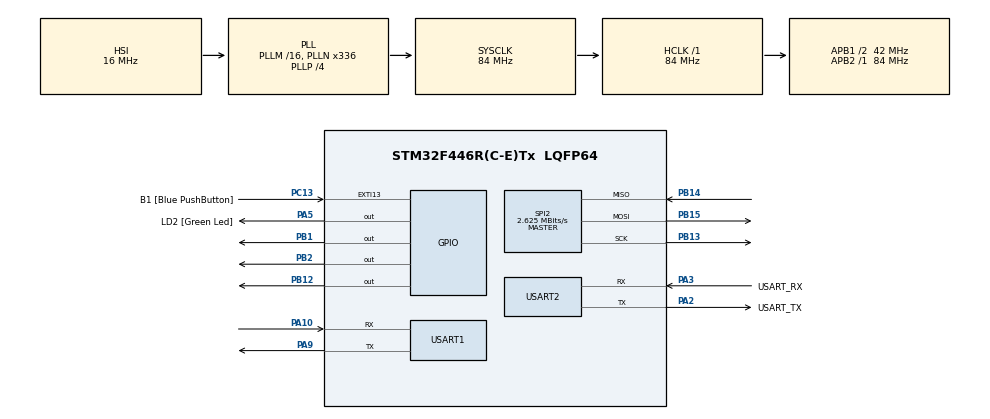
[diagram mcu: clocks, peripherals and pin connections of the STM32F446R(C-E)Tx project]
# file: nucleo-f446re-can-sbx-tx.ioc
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Mcu.Family=STM32F4
PH0-OSC_IN.Signal=RCC_OSC_IN
RCC.CortexFreq_Value=84000000
SPI2.VirtualType=VM_MASTER
PA14.GPIO_Label=TCK
PC13.GPIO_Label=B1 [Blue PushButton]
PB13.Signal=SPI2_SCK
PB15.Signal=SPI2_MOSI
RCC.SYSCLKSource=RCC_SYSCLKSOURCE_PLLCLK
ProjectManager.StackSize=0x400
RCC.HCLKFreq_Value=84000000
RCC.APB2TimFreq_Value=84000000
RCC.AHBFreq_Value=84000000
SPI2.BaudRatePrescaler=SPI_BAUDRATEPRESCALER_16
PH0-OSC_IN.Mode=HSE-External-Oscillator
RCC.HSE_VALUE=8000000
PB2.Signal=GPIO_Output
PC14-OSC32_IN.Mode=LSE-External-Oscillator
PA14.Mode=Serial_Wire
PB14.Mode=Full_Duplex_Master
SPI2.CalculateBaudRate=2.625 MBits/s
RCC.FLatency-AdvancedSettings=FLASH_LATENCY_2
PH1-OSC_OUT.Mode=HSE-External-Oscillator
Mcu.Package=LQFP64
PB1.Signal=GPIO_Output
SPI2.Mode=SPI_MODE_MASTER
USART2.VirtualMode=VM_ASYNC
PA2.GPIO_Label=USART_TX
PA10.Signal=USART1_RX
RCC.APB1TimFreq_Value=84000000
SPI2.Direction=SPI_DIRECTION_2LINES
PB13.Mode=Full_Duplex_Master
PA3.Signal=USART2_RX
PB3.GPIO_Label=SWO
PC15-OSC32_OUT.Mode=LSE-External-Oscillator
PA10.Mode=Asynchronous
PC13.Signal=GPXTI13
RCC.APB1CLKDivider=RCC_HCLK_DIV2
PC14-OSC32_IN.Signal=RCC_OSC32_IN
PA13.Signal=SYS_JTMS-SWDIO
PA3.Mode=Asynchronous
PA9.Mode=Asynchronous
ProjectManager.TargetToolchain=STM32CubeIDE
PA9.Signal=USART1_TX
RCC.USBFreq_Value=168000000
PC15-OSC32_OUT.Signal=RCC_OSC32_OUT
PB14.Signal=SPI2_MISO
PA5.Signal=GPIO_Output
board=NUCLEO-F446RE
RCC.VCOOutputFreq_Value=336000000
PB15.Mode=Full_Duplex_Master
RCC.APB2Freq_Value=84000000
PH1-OSC_OUT.Signal=RCC_OSC_OUT
PA13.Mode=Serial_Wire
Mcu.Name=STM32F446R(C-E)Tx
PA13.GPIO_Label=TMS
PA2.Signal=USART2_TX
RCC.48MHZClocksFreq_Value=84000000
PB3.Signal=SYS_JTDO-SWO
RCC.SYSCLKFreq_VALUE=84000000
PA5.GPIO_Label=LD2 [Green Led]
PC13.GPIO_ModeDefaultEXTI=GPIO_MODE_IT_FALLING
USART1.VirtualMode=VM_ASYNC
PA14.Signal=SYS_JTCK-SWCLK
ProjectManager.HeapSize=0x200
RCC.HSI_VALUE=16000000
RCC.PLLP=RCC_PLLP_DIV4
NVIC.PriorityGroup=NVIC_PRIORITYGROUP_0
RCC.PLLN=336
PA2.Mode=Asynchronous
RCC.APB1Freq_Value=42000000
PB12.Signal=GPIO_Output
PA3.GPIO_Label=USART_RX

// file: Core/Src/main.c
/* USER CODE BEGIN Header */
/**
  ******************************************************************************
  * @file           : main.c
  * @brief          : Main program body
  ******************************************************************************
  * @attention
  *
  * <h2><center>&copy; Copyright (c) 2021 STMicroelectronics.
  * All rights reserved.</center></h2>
  *
  * This software component is licensed by ST under BSD 3-Clause license,
  * the "License"; You may not use this file except in compliance with the
  * License. You may obtain a copy of the License at:
  *                        opensource.org/licenses/BSD-3-Clause
  *
  ******************************************************************************
  */
/* USER CODE END Header */
#include "main.h"

/* USER CODE BEGIN Includes */
#include "cc_definitions.h"
#include "cc_commands.h"
#include "cc1120_config.h"
#include "cc112x_spi.h"
#include "cc_tx_init.h"
#include "cw.h"
#include "utils.h"
#include "stdio.h"
#include "string.h"
/* USER CODE END Includes */

SPI_HandleTypeDef hspi2;

UART_HandleTypeDef huart1;
UART_HandleTypeDef huart2;

/* USER CODE BEGIN PV */
uint8_t ret = 0;
uint16_t size = 0;

volatile uint8_t tx_thr_flag = 0;
volatile uint8_t tx_fin_flag = 0;
volatile uint8_t rx_sync_flag = 0;
volatile uint8_t rx_finished_flag = 0;
volatile uint8_t rx_thr_flag = 0;

uint8_t uart_temp[512];
uint8_t spi_data[512];
uint8_t spi_temp[512];
uint8_t debug_temp[256];
uint8_t debug_temp_length;

/* USER CODE END PV */

void SystemClock_Config(void);
static void MX_GPIO_Init(void);
static void MX_USART2_UART_Init(void);
static void MX_SPI2_Init(void);
static void MX_USART1_UART_Init(void);
/* USER CODE BEGIN PFP */
static void printString(char* string);
/* USER CODE END PFP */

int main(void)
{
  /* USER CODE BEGIN 1 */
	uint8_t received = 0;
	uint8_t frame_len = 4;
	uint32_t start_tick;
  /* USER CODE END 1 */

  /* MCU Configuration--------------------------------------------------------*/

  /* Reset of all peripherals, Initializes the Flash interface and the Systick. */
  HAL_Init();

  /* Configure the system clock */
  SystemClock_Config();

  /* Initialize all configured peripherals */
  MX_GPIO_Init();
  MX_USART2_UART_Init();
  MX_SPI2_Init();
  MX_USART1_UART_Init();
  /* USER CODE BEGIN 2 */

  //bring the chip select high
  printString("<slave select low>\r\n");
  HAL_GPIO_WritePin (GPIOB, GPIO_PIN_12, GPIO_PIN_SET);
  //tell OBC that comms is working
  printString("<inform OBC that comms is good>\r\n");
  HAL_GPIO_WritePin (GPIOB, GPIO_PIN_1, GPIO_PIN_SET);
  //setup the registers to begin sending
  printString("<begin register config>\r\n");
  set_tx_fsk_regs();
  //enter in the main loop
  printString("<begin main loop>\r\n");

  /* USER CODE END 2 */

  /* Infinite loop */
  /* USER CODE BEGIN WHILE */
  while (1)
  {
	  /* begin the time out sequence */
	  start_tick = HAL_GetTick();

	  /* we know we are just receiving 4 bytes for now */
	  while (frame_len - received > 0)
	  {
		  /* check to see if we are taking too long (arbitrary 10s) */
		  if(HAL_GetTick () - start_tick > 10000)
		  {
			/* flush and restart */
			cc_rx_cmd (SFRX);
			cc_rx_cmd (SIDLE);
			cc_rx_cmd (SRX);
			printString("<rx timeout reached>\r\n");
			break;
		  }
	      /* We can now dequeue CC1120_BYTES_IN_RX_FIF0 bytes */
	      ret = cc_rx_spi_read_fifo (spi_data + received, CC1120_BYTES_IN_RX_FIF0);

	      if(ret)
	      {
	        /* Flush and restart! */
	        cc_rx_cmd (SFRX);
	        cc_rx_cmd (SIDLE);
	        cc_rx_cmd (SRX);
	        printString("<no data received>\r\n");
	      }

	     received += CC1120_BYTES_IN_RX_FIF0;
	  }

	  //print the results to a serial monitor
	  memcpy(debug_temp, spi_data, sizeof(spi_data));
	  HAL_UART_Transmit(&huart2, debug_temp, strlen((char*) debug_temp), HAL_MAX_DELAY);

	  //this is only ran so we know the serial monitor and board are working
	  printString("...");
	  HAL_GPIO_TogglePin(GPIOA, GPIO_PIN_5);
	  HAL_Delay(2000);

    /* USER CODE END WHILE */

  }
}

void SystemClock_Config(void)
{
  RCC_OscInitTypeDef RCC_OscInitStruct = {0};
  RCC_ClkInitTypeDef RCC_ClkInitStruct = {0};

  /** Configure the main internal regulator output voltage
  */
  __HAL_RCC_PWR_CLK_ENABLE();
  __HAL_PWR_VOLTAGESCALING_CONFIG(PWR_REGULATOR_VOLTAGE_SCALE3);
  /** Initializes the RCC Oscillators according to the specified parameters
  * in the RCC_OscInitTypeDef structure.
  */
  RCC_OscInitStruct.OscillatorType = RCC_OSCILLATORTYPE_HSI;
  RCC_OscInitStruct.HSIState = RCC_HSI_ON;
  RCC_OscInitStruct.HSICalibrationValue = RCC_HSICALIBRATION_DEFAULT;
  RCC_OscInitStruct.PLL.PLLState = RCC_PLL_ON;
  RCC_OscInitStruct.PLL.PLLSource = RCC_PLLSOURCE_HSI;
  RCC_OscInitStruct.PLL.PLLM = 16;
  RCC_OscInitStruct.PLL.PLLN = 336;
  RCC_OscInitStruct.PLL.PLLP = RCC_PLLP_DIV4;
  RCC_OscInitStruct.PLL.PLLQ = 2;
  RCC_OscInitStruct.PLL.PLLR = 2;
  if (HAL_RCC_OscConfig(&RCC_OscInitStruct) != HAL_OK)
  {
    Error_Handler();
  }
  /** Initializes the CPU, AHB and APB buses clocks
  */
  RCC_ClkInitStruct.ClockType = RCC_CLOCKTYPE_HCLK|RCC_CLOCKTYPE_SYSCLK
                              |RCC_CLOCKTYPE_PCLK1|RCC_CLOCKTYPE_PCLK2;
  RCC_ClkInitStruct.SYSCLKSource = RCC_SYSCLKSOURCE_PLLCLK;
  RCC_ClkInitStruct.AHBCLKDivider = RCC_SYSCLK_DIV1;
  RCC_ClkInitStruct.APB1CLKDivider = RCC_HCLK_DIV2;
  RCC_ClkInitStruct.APB2CLKDivider = RCC_HCLK_DIV1;

  if (HAL_RCC_ClockConfig(&RCC_ClkInitStruct, FLASH_LATENCY_2) != HAL_OK)
  {
    Error_Handler();
  }
}

static void MX_SPI2_Init(void)
{

  /* SPI2 parameter configuration*/
  hspi2.Instance = SPI2;
  hspi2.Init.Mode = SPI_MODE_MASTER;
  hspi2.Init.Direction = SPI_DIRECTION_2LINES;
  hspi2.Init.DataSize = SPI_DATASIZE_8BIT;
  hspi2.Init.CLKPolarity = SPI_POLARITY_LOW;
  hspi2.Init.CLKPhase = SPI_PHASE_1EDGE;
  hspi2.Init.NSS = SPI_NSS_SOFT;
  hspi2.Init.BaudRatePrescaler = SPI_BAUDRATEPRESCALER_16;
  hspi2.Init.FirstBit = SPI_FIRSTBIT_MSB;
  hspi2.Init.TIMode = SPI_TIMODE_DISABLE;
  hspi2.Init.CRCCalculation = SPI_CRCCALCULATION_DISABLE;
  hspi2.Init.CRCPolynomial = 10;
  if (HAL_SPI_Init(&hspi2) != HAL_OK)
  {
    Error_Handler();
  }

}

static void MX_USART1_UART_Init(void)
{

  huart1.Instance = USART1;
  huart1.Init.BaudRate = 115200;
  huart1.Init.WordLength = UART_WORDLENGTH_8B;
  huart1.Init.StopBits = UART_STOPBITS_1;
  huart1.Init.Parity = UART_PARITY_NONE;
  huart1.Init.Mode = UART_MODE_TX_RX;
  huart1.Init.HwFlowCtl = UART_HWCONTROL_NONE;
  huart1.Init.OverSampling = UART_OVERSAMPLING_16;
  if (HAL_UART_Init(&huart1) != HAL_OK)
  {
    Error_Handler();
  }

}

static void MX_USART2_UART_Init(void)
{

  huart2.Instance = USART2;
  huart2.Init.BaudRate = 115200;
  huart2.Init.WordLength = UART_WORDLENGTH_8B;
  huart2.Init.StopBits = UART_STOPBITS_1;
  huart2.Init.Parity = UART_PARITY_NONE;
  huart2.Init.Mode = UART_MODE_TX_RX;
  huart2.Init.HwFlowCtl = UART_HWCONTROL_NONE;
  huart2.Init.OverSampling = UART_OVERSAMPLING_16;
  if (HAL_UART_Init(&huart2) != HAL_OK)
  {
    Error_Handler();
  }

}

static void MX_GPIO_Init(void)
{
  GPIO_InitTypeDef GPIO_InitStruct = {0};

  /* GPIO Ports Clock Enable */
  __HAL_RCC_GPIOC_CLK_ENABLE();
  __HAL_RCC_GPIOH_CLK_ENABLE();
  __HAL_RCC_GPIOA_CLK_ENABLE();
  __HAL_RCC_GPIOB_CLK_ENABLE();

  /*Configure GPIO pin Output Level */
  HAL_GPIO_WritePin(LD2_GPIO_Port, LD2_Pin, GPIO_PIN_RESET);

  /*Configure GPIO pin Output Level */
  HAL_GPIO_WritePin(GPIOB, GPIO_PIN_1|GPIO_PIN_2|GPIO_PIN_12, GPIO_PIN_RESET);

  /*Configure GPIO pin : B1_Pin */
  GPIO_InitStruct.Pin = B1_Pin;
  GPIO_InitStruct.Mode = GPIO_MODE_IT_FALLING;
  GPIO_InitStruct.Pull = GPIO_NOPULL;
  HAL_GPIO_Init(B1_GPIO_Port, &GPIO_InitStruct);

  /*Configure GPIO pin : LD2_Pin */
  GPIO_InitStruct.Pin = LD2_Pin;
  GPIO_InitStruct.Mode = GPIO_MODE_OUTPUT_PP;
  GPIO_InitStruct.Pull = GPIO_NOPULL;
  GPIO_InitStruct.Speed = GPIO_SPEED_FREQ_LOW;
  HAL_GPIO_Init(LD2_GPIO_Port, &GPIO_InitStruct);

  /*Configure GPIO pins : PB1 PB2 PB12 */
  GPIO_InitStruct.Pin = GPIO_PIN_1|GPIO_PIN_2|GPIO_PIN_12;
  GPIO_InitStruct.Mode = GPIO_MODE_OUTPUT_PP;
  GPIO_InitStruct.Pull = GPIO_NOPULL;
  GPIO_InitStruct.Speed = GPIO_SPEED_FREQ_LOW;
  HAL_GPIO_Init(GPIOB, &GPIO_InitStruct);

}

/* USER CODE BEGIN 4 */
static void printString(char* string)
{
	uint8_t buf[strlen(string)];
	strcpy((char*)buf, string);
	HAL_UART_Transmit(&huart2, buf, strlen((char*)buf), HAL_MAX_DELAY);
}
/* USER CODE END 4 */

void Error_Handler(void)
{
  /* USER CODE BEGIN Error_Handler_Debug */
  /* User can add his own implementation to report the HAL error return state */
  __disable_irq();

  // tell obc that comms isn't working
  HAL_GPIO_WritePin(GPIOB, GPIO_PIN_1, GPIO_PIN_RESET);

  while (1)
  {
	  break;
  }
  /* USER CODE END Error_Handler_Debug */
}

/************************ (C) COPYRIGHT STMicroelectronics *****END OF FILE****/
